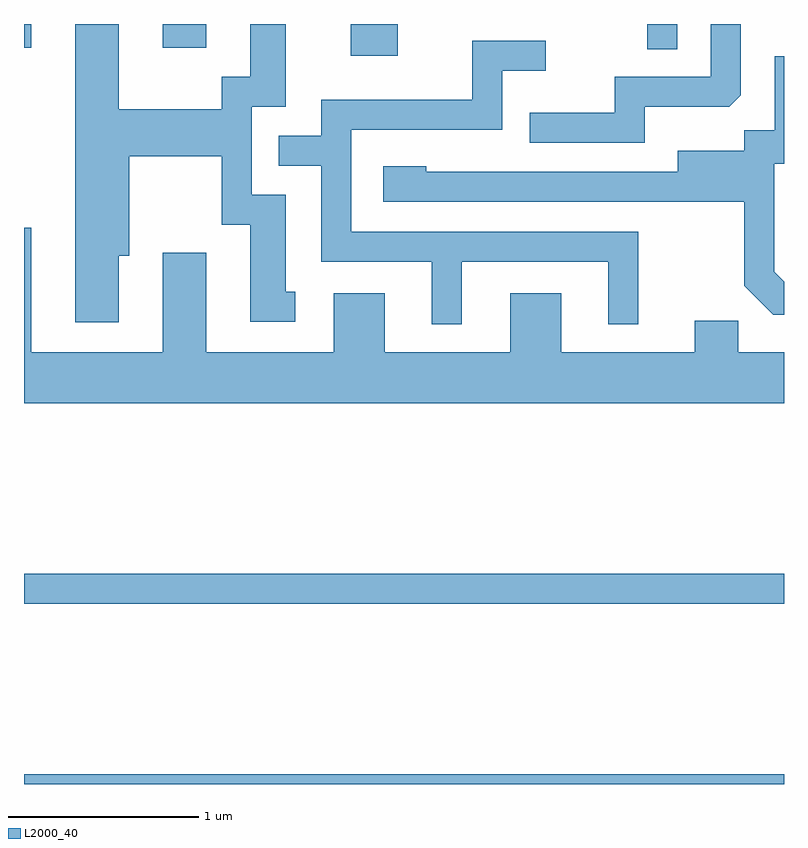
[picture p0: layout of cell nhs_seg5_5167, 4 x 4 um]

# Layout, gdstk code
import gdstk
lib = gdstk.Library(unit=1e-6, precision=1e-09)
def R(c, l, rs):  # rectangles x0, y0, x1, y1
    for r in rs: c.add(gdstk.rectangle(r[:2], r[2:], *l))
def P(c, l, *ps):  # polygons
    for p in ps: c.add(gdstk.Polygon(p, *l))
L2000_40 = (2000, 40)

nhs_seg5_5167 = lib.new_cell('nhs_seg5_5167')
R(nhs_seg5_5167, L2000_40, [(337.611,1508.072,341.611,1508.124), (337.611,1509.021,341.611,1509.179), (339.331,1511.906,339.579,1512.072), (340.891,1511.938,341.049,1512.072), (337.611,1511.946,337.649,1512.072), (338.341,1511.946,338.569,1512.072)])
P(nhs_seg5_5167, L2000_40, [(340.879,1511.636),(341.324,1511.636),(341.384,1511.697),(341.384,1512.072),(341.226,1512.072),(341.226,1511.794),(340.721,1511.794),(340.721,1511.604),(340.273,1511.604),(340.273,1511.446),(340.879,1511.446)],
  [(338.109,1510.851),(338.164,1510.851),(338.164,1511.376),(338.651,1511.376),(338.651,1511.016),(338.801,1511.016),(338.801,1510.506),(339.038,1510.506),(339.038,1510.664),(338.989,1510.664),(338.989,1511.174),(338.809,1511.174),(338.809,1511.636),(338.989,1511.636),(338.989,1512.072),(338.801,1512.072),(338.801,1511.794),(338.651,1511.794),(338.651,1511.624),(338.109,1511.624),(338.109,1512.072),(337.881,1512.072),(337.881,1510.501),(338.109,1510.501)],
  [(339.914,1510.821),(340.686,1510.821),(340.686,1510.493),(340.844,1510.493),(340.844,1510.979),(339.334,1510.979),(339.334,1511.516),(340.129,1511.516),(340.129,1511.826),(340.358,1511.826),(340.358,1511.984),(339.971,1511.984),(339.971,1511.674),(339.176,1511.674),(339.176,1511.484),(338.953,1511.484),(338.953,1511.326),(339.176,1511.326),(339.176,1510.821),(339.756,1510.821),(339.756,1510.493),(339.914,1510.493)],
  [(341.611,1510.715),(341.559,1510.767),(341.559,1511.336),(341.611,1511.336),(341.611,1511.903),(341.561,1511.903),(341.561,1511.514),(341.401,1511.514),(341.401,1511.404),(341.051,1511.404),(341.051,1511.294),(339.729,1511.294),(339.729,1511.324),(339.501,1511.324),(339.501,1511.136),(341.401,1511.136),(341.401,1510.694),(341.554,1510.541),(341.611,1510.541)],
  [(341.611,1510.344),(341.369,1510.344),(341.369,1510.509),(341.141,1510.509),(341.141,1510.344),(340.439,1510.344),(340.439,1510.654),(340.171,1510.654),(340.171,1510.344),(339.509,1510.344),(339.509,1510.654),(339.241,1510.654),(339.241,1510.344),(338.569,1510.344),(338.569,1510.869),(338.341,1510.869),(338.341,1510.344),(337.649,1510.344),(337.649,1510.999),(337.611,1510.999),(337.611,1510.076),(341.611,1510.076)])

lib.write_gds('nhs_seg5_5167.gds')
